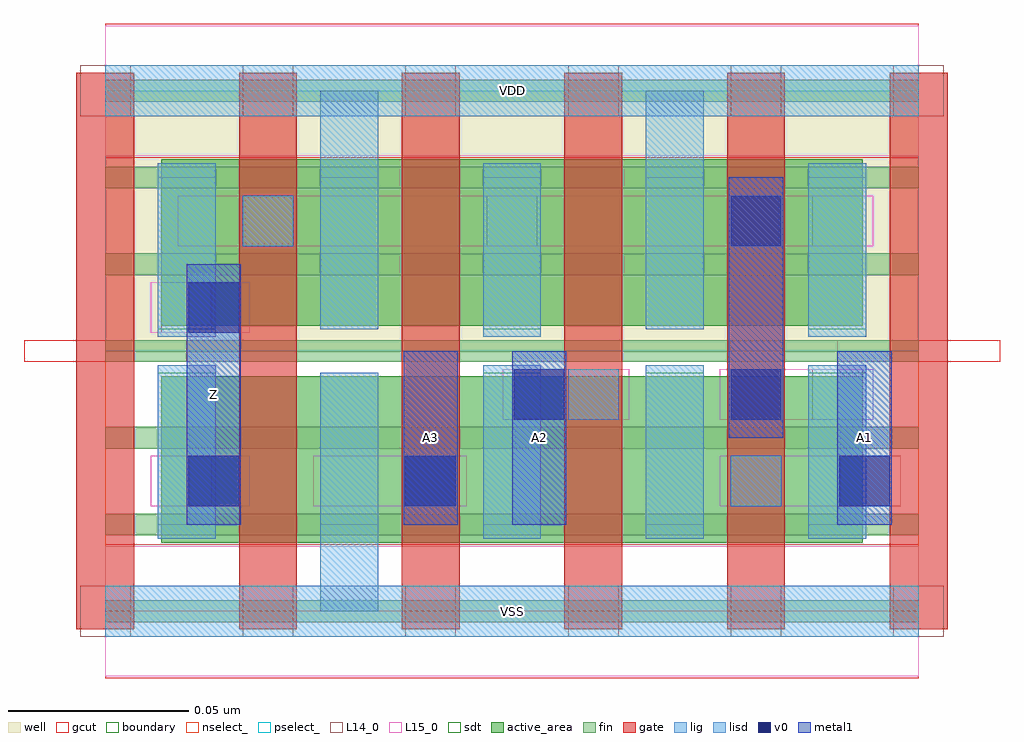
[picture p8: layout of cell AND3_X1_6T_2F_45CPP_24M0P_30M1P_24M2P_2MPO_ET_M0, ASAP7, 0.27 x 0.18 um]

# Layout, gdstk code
import gdstk
lib = gdstk.Library(unit=1e-6, precision=2.5e-10)
def R(c, l, rs):  # rectangles x0, y0, x1, y1
    for r in rs: c.add(gdstk.rectangle(r[:2], r[2:], *l))
def A(c, l, x, y, w, h, nx, ny, dx, dy):  # array of equal rectangles
    R(c, l, [(x+i*dx, y+j*dy, x+i*dx+w, y+j*dy+h) for i in range(nx) for j in range(ny)])
well = (1, 0)
fin = (2, 0)
gate = (7, 0)
gcut = (10, 0)
active_area = (11, 0)
nselect_ = (12, 0)
pselect_ = (13, 0)
L14_0 = (14, 0)
L15_0 = (15, 0)
lig = (16, 0)
lisd = (17, 0)
v0 = (18, 0)
metal1 = (19, 0)
sdt = (88, 0)
boundary = (100, 0)

and3_x1_6t_2f_45cpp_24m0 = lib.new_cell('AND3_X1_6T_2F_45CPP_24M0P_30M1P_24M2P_2MPO_ET_M0')
R(and3_x1_6t_2f_45cpp_24m0, well, [(0,0.072,0.225,0.144)])
A(and3_x1_6t_2f_45cpp_24m0, fin, 0, -0.003, 0.225, 0.006, 1, 7, 0, 0.024)
A(and3_x1_6t_2f_45cpp_24m0, gate, -0.008, -0.005, 0.016, 0.154, 6, 1, 0.045, 0)
R(and3_x1_6t_2f_45cpp_24m0, gcut, [(0,-0.0185,0.225,0.0185), (-0.0225,0.069,0.0225,0.075), (0.2025,0.069,0.2475,0.075), (0,0.1255,0.225,0.1625)])
A(and3_x1_6t_2f_45cpp_24m0, active_area, 0.0155, 0.019, 0.059, 0.046, 4, 2, 0.045, 0.06)
R(and3_x1_6t_2f_45cpp_24m0, nselect_, [(0,0,0.225,0.072)])
R(and3_x1_6t_2f_45cpp_24m0, pselect_, [(0,0.072,0.225,0.144)])
A(and3_x1_6t_2f_45cpp_24m0, L14_0, -0.007, -0.007, 0.014, 0.014, 6, 2, 0.045, 0.144)
R(and3_x1_6t_2f_45cpp_24m0, L14_0, [(0.0155,0.029,0.0295,0.043), (0.083,0.029,0.097,0.043), (0.173,0.029,0.187,0.043), (0.128,0.053,0.142,0.067), (0.1955,0.053,0.2095,0.067), (0.0155,0.077,0.0295,0.091), (0.038,0.101,0.052,0.115), (0.1055,0.101,0.1195,0.115), (0.1955,0.101,0.2095,0.115)])
R(and3_x1_6t_2f_45cpp_24m0, L15_0, [(0,-0.018,0.225,0.018), (0.0125,0.029,0.04,0.043), (0.0575,0.029,0.1,0.043), (0.17,0.029,0.22,0.043), (0.11,0.053,0.145,0.067), (0.17,0.053,0.2125,0.067), (0.0125,0.077,0.04,0.091), (0.02,0.101,0.2125,0.115), (0,0.126,0.225,0.162)])
R(and3_x1_6t_2f_45cpp_24m0, lig, [(0,-0.007,0.225,0.007), (0.083,0.029,0.097,0.043), (0.173,0.029,0.187,0.043), (0.128,0.053,0.142,0.067), (0.038,0.101,0.052,0.115), (0,0.137,0.225,0.151)])
A(and3_x1_6t_2f_45cpp_24m0, lisd, 0.1045, 0.02, 0.016, 0.048, 3, 1, 0.045, 0)
A(and3_x1_6t_2f_45cpp_24m0, lisd, 0.0145, 0.076, 0.016, 0.048, 3, 1, 0.09, 0)
R(and3_x1_6t_2f_45cpp_24m0, lisd, [(0.0595,0,0.0755,0.066), (0.0145,0.02,0.0305,0.068), (0.0595,0.078,0.0755,0.144), (0.1495,0.078,0.1655,0.144)])
R(and3_x1_6t_2f_45cpp_24m0, v0, [(0.023,0.029,0.037,0.043), (0.083,0.029,0.097,0.043), (0.203,0.029,0.217,0.043), (0.113,0.053,0.127,0.067), (0.173,0.053,0.187,0.067), (0.023,0.077,0.037,0.091), (0.173,0.101,0.187,0.115)])
R(and3_x1_6t_2f_45cpp_24m0, metal1, [(0.0225,0.024,0.0375,0.096), (0.0825,0.024,0.0975,0.072), (0.1125,0.024,0.1275,0.072), (0.2025,0.024,0.2175,0.072), (0.1725,0.048,0.1875,0.12)])
A(and3_x1_6t_2f_45cpp_24m0, sdt, 0.0145, 0.024, 0.016, 0.042, 5, 2, 0.045, 0.054)
R(and3_x1_6t_2f_45cpp_24m0, boundary, [(0,0,0.225,0.144)])
and3_x1_6t_2f_45cpp_24m0.add(gdstk.Label('Z', (0.03,0.06), layer=19, texttype=251))
and3_x1_6t_2f_45cpp_24m0.add(gdstk.Label('A1', (0.21,0.048), layer=19, texttype=251))
and3_x1_6t_2f_45cpp_24m0.add(gdstk.Label('A2', (0.12,0.048), layer=19, texttype=251))
and3_x1_6t_2f_45cpp_24m0.add(gdstk.Label('A3', (0.09,0.048), layer=19, texttype=251))
and3_x1_6t_2f_45cpp_24m0.add(gdstk.Label('VDD', (0.1125,0.144), layer=15, texttype=251))
and3_x1_6t_2f_45cpp_24m0.add(gdstk.Label('VSS', (0.1125,0), layer=15, texttype=251))
and3_x1_6t_2f_45cpp_24m0.add(gdstk.Label('VDD', (0.1125,0.144), layer=1, texttype=251))
and3_x1_6t_2f_45cpp_24m0.add(gdstk.Label('VSS', (0.1125,0), layer=3, texttype=251))

lib.write_gds('AND3_X1_6T_2F_45CPP_24M0P_30M1P_24M2P_2MPO_ET_M0.gds')
